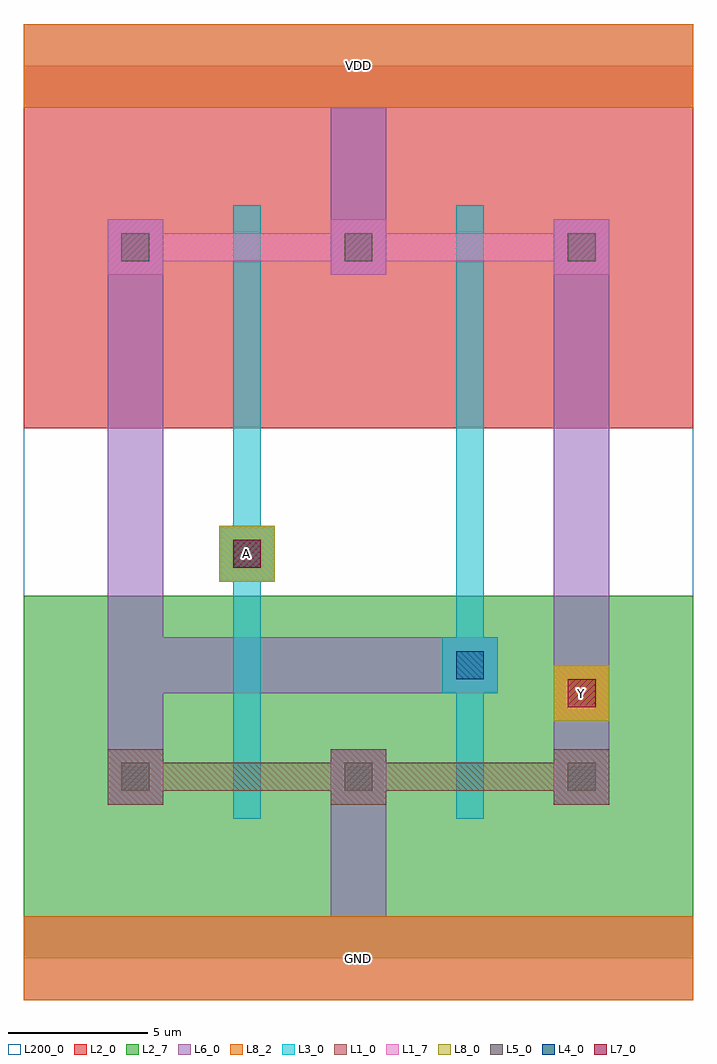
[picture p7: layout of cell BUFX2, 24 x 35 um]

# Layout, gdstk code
import gdstk
lib = gdstk.Library(unit=1e-6, precision=1e-09)
def R(c, l, rs):  # rectangles x0, y0, x1, y1
    for r in rs: c.add(gdstk.rectangle(r[:2], r[2:], *l))
def A(c, l, x, y, w, h, nx, ny, dx, dy):  # array of equal rectangles
    R(c, l, [(x+i*dx, y+j*dy, x+i*dx+w, y+j*dy+h) for i in range(nx) for j in range(ny)])
def P(c, l, *ps):  # polygons
    for p in ps: c.add(gdstk.Polygon(p, *l))
L1_0 = (1, 0)
L1_7 = (1, 7)
L2_0 = (2, 0)
L2_7 = (2, 7)
L3_0 = (3, 0)
L4_0 = (4, 0)
L5_0 = (5, 0)
L6_0 = (6, 0)
L7_0 = (7, 0)
L8_0 = (8, 0)
L8_2 = (8, 2)
L200_0 = (200, 0)

bufx2 = lib.new_cell('BUFX2')
P(bufx2, L1_0, [(3,5.5),(3,7.5),(5,7.5),(5,7),(11,7),(11,7.5),(13,7.5),(13,7),(19,7),(19,7.5),(21,7.5),(21,5.5),(19,5.5),(19,6),(13,6),(13,5.5),(11,5.5),(11,6),(5,6),(5,5.5)])
P(bufx2, L1_7, [(3,24.5),(3,26.5),(5,26.5),(5,26),(11,26),(11,26.5),(13,26.5),(13,26),(19,26),(19,26.5),(21,26.5),(21,24.5),(19,24.5),(19,25),(13,25),(13,24.5),(11,24.5),(11,25),(5,25),(5,24.5)])
R(bufx2, L2_0, [(0,19,24,32)])
R(bufx2, L2_7, [(0,0,24,13)])
P(bufx2, L3_0, [(7.5,5),(7.5,13.5),(7,13.5),(7,15.5),(7.5,15.5),(7.5,27),(8.5,27),(8.5,15.5),(9,15.5),(9,13.5),(8.5,13.5),(8.5,5)],
  [(15.5,5),(15.5,9.5),(15,9.5),(15,11.5),(15.5,11.5),(15.5,27),(16.5,27),(16.5,11.5),(17,11.5),(17,9.5),(16.5,9.5),(16.5,5)])
R(bufx2, L4_0, [(15.5,10,16.5,11), (7.5,14,8.5,15)])
A(bufx2, L5_0, 3.5, 6, 1, 1, 3, 2, 8, 19)
R(bufx2, L6_0, [(19,5.5,21,26.5), (7,13.5,9,15.5)])
P(bufx2, L6_0, [(0,-1.5),(0,1.5),(11,1.5),(11,7.5),(13,7.5),(13,1.5),(24,1.5),(24,-1.5)],
  [(3,5.5),(3,26.5),(5,26.5),(5,11.5),(17,11.5),(17,9.5),(5,9.5),(5,5.5)],
  [(11,24.5),(11,30.5),(0,30.5),(0,33.5),(24,33.5),(24,30.5),(13,30.5),(13,24.5)])
R(bufx2, L7_0, [(19.5,9,20.5,10), (7.5,14,8.5,15)])
R(bufx2, L8_0, [(19,8.5,21,10.5), (7,13.5,9,15.5)])
R(bufx2, L8_2, [(19,8.5,21,10.5), (7,13.5,9,15.5)])
R(bufx2, L200_0, [(0,0,24,32)])
bufx2.add(gdstk.FlexPath([(0,32),(24,32)], 3, ends="flush", simple_path=True, layer=8, datatype=2))  # L8_2
bufx2.add(gdstk.FlexPath([(0,0),(24,0)], 3, ends="flush", simple_path=True, layer=8, datatype=2))  # L8_2
bufx2.add(gdstk.Label('GND', (12,0), layer=6, texttype=1))
bufx2.add(gdstk.Label('VDD', (12,32), layer=6, texttype=1))
bufx2.add(gdstk.Label('A', (8,14.5), layer=8, texttype=1))
bufx2.add(gdstk.Label('Y', (20,9.5), layer=8, texttype=1))

lib.write_gds('BUFX2.gds')
